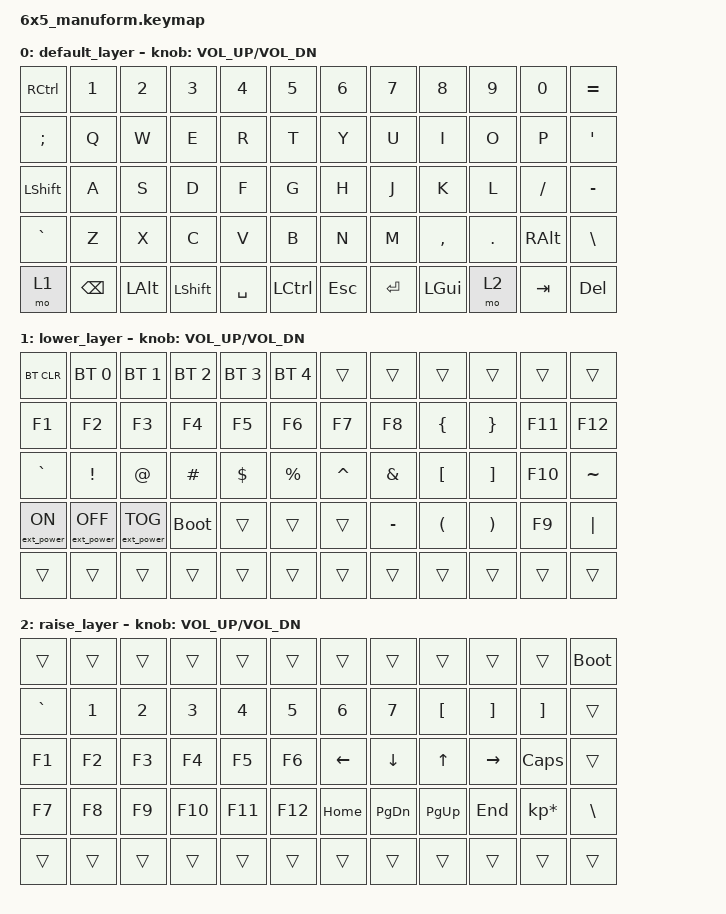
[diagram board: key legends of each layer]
/*
 * Copyright (c) 2020 The ZMK Contributors
 *
 * SPDX-License-Identifier: MIT
 */

#include <behaviors.dtsi>
#include <dt-bindings/zmk/bt.h>
#include <dt-bindings/zmk/ext_power.h>
#include <dt-bindings/zmk/keys.h>

/ {
    keymap {
        compatible = "zmk,keymap";

        default_layer {
            // ------------------------------------------------------------------------------------------------------------
            // |  ESC   |  1  |  2  |  3   |  4   |  5   |                    |  6   |  7    |  8    |  9   |   0   |   `   |
            // |  TAB   |  Q  |  W  |  E   |  R   |  T   |                    |  Y   |  U    |  I    |  O   |   P   |   -   |
            // |  CTRL  |  A  |  S  |  D   |  F   |  G   |                    |  H   |  J    |  K    |  L   |   ;   |   '   |
            // | SHIFT  |  Z  |  X  |  C   |  V   |  B   |                    |  N   |  M    |  ,    |  .   |   /   | SHIFT |
            // |    2   |  2  | f   | 6    | 4    | 1    |                    | 2    | 1     | w     | s    | n     |  a    |

            bindings = <
&kp RCTRL      &kp N1    &kp N2    &kp N3     &kp N4     &kp N5     &kp N6   &kp N7     &kp N8     &kp N9   &kp N0         &kp EQUAL
&kp SEMICOLON  &kp Q     &kp W     &kp E      &kp R      &kp T      &kp Y    &kp U      &kp I      &kp O    &kp P          &kp SQT
&kp LSHFT      &kp A     &kp S     &kp D      &kp F      &kp G      &kp H    &kp J      &kp K      &kp L    &kp SLASH      &kp MINUS
&kp GRAVE      &kp Z     &kp X     &kp C      &kp V      &kp B      &kp N    &kp M      &kp COMMA  &kp DOT  &kp RIGHT_ALT  &kp BSLH
&mo 1          &kp BSPC  &kp LALT  &kp LSHFT  &kp SPACE  &kp LCTRL  &kp ESC  &kp ENTER  &kp LGUI   &mo 2    &kp TAB        &kp DELETE
            >;

            sensor-bindings = <&inc_dec_kp C_VOL_UP C_VOL_DN>;
        };

        lower_layer {
            // ------------------------------------------------------------------------------------------------------------
            // | BTCLR | BT1 | BT2 |  BT3 |  BT4 |  BT5 |                   |      |       |       |      |       |       |
            // |  F1   |  F2 |  F3 |  F4  |  F5  |  F6  |                   |  F7  |  F8   |  F9   |  F10 |  F11  |  F12  |
            // |   `   |  !  |  @  |  #   |  $   |  %   |                   |  ^   |  &    |  *    |  (   |   )   |   ~   |
            // |       |     |     |      |      |      |                   |      |  _    |  +    |  {   |   }   |  "|"  |
            // |       |     |     |      |      |      |                   |      |       |       |      |       |       |

            bindings = <
&bt BT_CLR        &bt BT_SEL 0       &bt BT_SEL 1       &bt BT_SEL 2  &bt BT_SEL 3  &bt BT_SEL 4  &trans     &trans     &trans                &trans                 &trans   &trans
&kp F1            &kp F2             &kp F3             &kp F4        &kp F5        &kp F6        &kp F7     &kp F8     &kp LEFT_BRACE        &kp RIGHT_BRACE        &kp F11  &kp F12
&kp GRAVE         &kp EXCL           &kp AT             &kp HASH      &kp DOLLAR    &kp PRCNT     &kp CARET  &kp AMPS   &kp LEFT_BRACKET      &kp RIGHT_BRACKET      &kp F10  &kp TILDE
&ext_power EP_ON  &ext_power EP_OFF  &ext_power EP_TOG  &bootloader   &trans        &trans        &trans     &kp MINUS  &kp LEFT_PARENTHESIS  &kp RIGHT_PARENTHESIS  &kp F9   &kp PIPE
&trans            &trans             &trans             &trans        &trans        &trans        &trans     &trans     &trans                &trans                 &trans   &trans
            >;

            sensor-bindings = <&inc_dec_kp C_VOL_UP C_VOL_DN>;
        };

        raise_layer {
            // ------------------------------------------------------------------------------------------------------------
            // |       |     |     |      |      |      |                   |      |       |       |      |       |       |
            // |   `   |  1  |  2  |  3   |  4   |  5   |                   |  6   |   7   |   8   |  9   |   0   |       |
            // |   F1  |  F2 |  F3 |  F4  |  F5  |  F6  |                   |      |   <-  |   v   |  ^   |  ->   |       |
            // |   F7  |  F8 |  F9 |  F10 |  F11 |  F12 |		             |  +   |   -   |   =   |  [   |   ]   |   \   |
            // |     |     |      |      |      |        |                   |       |      |       |       |      |       |

            bindings = <
&trans     &trans  &trans  &trans   &trans   &trans   &trans    &trans         &trans            &trans             &trans             &bootloader
&kp GRAVE  &kp N1  &kp N2  &kp N3   &kp N4   &kp N5   &kp N6    &kp N7         &kp LEFT_BRACKET  &kp RIGHT_BRACKET  &kp RIGHT_BRACKET  &trans
&kp F1     &kp F2  &kp F3  &kp F4   &kp F5   &kp F6   &kp LEFT  &kp DOWN       &kp UP            &kp RIGHT          &kp CAPS           &trans
&kp F7     &kp F8  &kp F9  &kp F10  &kp F11  &kp F12  &kp HOME  &kp PAGE_DOWN  &kp PG_UP         &kp END            &kp KP_MULTIPLY    &kp BSLH
&trans     &trans  &trans  &trans   &trans   &trans   &trans    &trans         &trans            &trans             &trans             &trans
            >;

            sensor-bindings = <&inc_dec_kp C_VOL_UP C_VOL_DN>;
        };
    };
};
